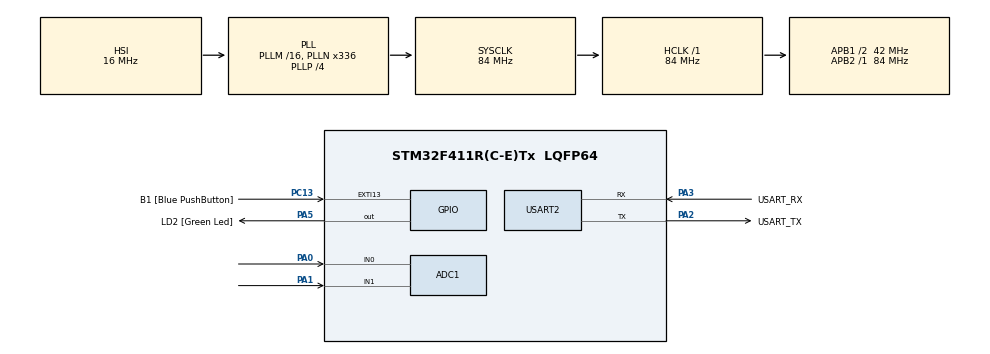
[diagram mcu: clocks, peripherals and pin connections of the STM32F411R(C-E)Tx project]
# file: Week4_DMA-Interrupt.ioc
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Mcu.Family=STM32F4
RCC.CortexFreq_Value=84000000
ADC1.ContinuousConvMode=ENABLE
VP_ADC1_TempSens_Input.Mode=IN-TempSens
PA14.GPIO_Label=TCK
RCC.SYSCLKSource=RCC_SYSCLKSOURCE_PLLCLK
ProjectManager.StackSize=0x400
PH0\ -\ OSC_IN.Signal=RCC_OSC_IN
RCC.HCLKFreq_Value=84000000
RCC.APB2TimFreq_Value=84000000
Dma.ADC1.0.Direction=DMA_PERIPH_TO_MEMORY
NVIC.DMA2_Stream0_IRQn=true\:0\:0\:false\:false\:true\:false\:true
Dma.ADC1.0.MemDataAlignment=DMA_MDATAALIGN_WORD
RCC.AHBFreq_Value=84000000
NVIC.EXTI15_10_IRQn=true\:0\:0\:false\:false\:true\:true\:true
ADC1.Channel-0\#ChannelRegularConversion=ADC_CHANNEL_0
RCC.HSE_VALUE=8000000
PC13-ANTI_TAMP.Signal=GPXTI13
VP_ADC1_Vref_Input.Mode=IN-Vrefint
PC14-OSC32_IN.Mode=LSE-External-Oscillator
PA14.Mode=Serial_Wire
Dma.ADC1.0.PeriphInc=DMA_PINC_DISABLE
SH.ADCx_IN0.0=ADC1_IN0,IN0
ADC1.SamplingTime-0\#ChannelRegularConversion=ADC_SAMPLETIME_28CYCLES
RCC.FLatency-AdvancedSettings=FLASH_LATENCY_2
Mcu.Package=LQFP64
USART2.VirtualMode=VM_ASYNC
PA2.GPIO_Label=USART_TX
SH.ADCx_IN1.0=ADC1_IN1,IN1
RCC.APB1TimFreq_Value=84000000
Dma.ADC1.0.FIFOMode=DMA_FIFOMODE_DISABLE
Dma.Request0=ADC1
PA3.Signal=USART2_RX
PB3.GPIO_Label=SWO
PC15-OSC32_OUT.Mode=LSE-External-Oscillator
Dma.ADC1.0.Instance=DMA2_Stream0
ADC1.Rank-0\#ChannelRegularConversion=1
PC13-ANTI_TAMP.GPIO_PuPd=GPIO_PULLUP
PC13-ANTI_TAMP.GPIO_Label=B1 [Blue PushButton]
PH1\ -\ OSC_OUT.Mode=HSE-External-Clock-Source
RCC.APB1CLKDivider=RCC_HCLK_DIV2
PC14-OSC32_IN.Signal=RCC_OSC32_IN
PA0-WKUP.Signal=ADCx_IN0
PA13.Signal=SYS_JTMS-SWDIO
PA3.Mode=Asynchronous
Dma.ADC1.0.PeriphDataAlignment=DMA_PDATAALIGN_WORD
PH0\ -\ OSC_IN.Mode=HSE-External-Clock-Source
ProjectManager.TargetToolchain=STM32CubeIDE
Dma.ADC1.0.Mode=DMA_CIRCULAR
Dma.ADC1.0.Priority=DMA_PRIORITY_LOW
ADC1.Channel-1\#ChannelRegularConversion=ADC_CHANNEL_1
PC15-OSC32_OUT.Signal=RCC_OSC32_OUT
PA1.Signal=ADCx_IN1
PA5.Signal=GPIO_Output
PH1\ -\ OSC_OUT.Signal=RCC_OSC_OUT
board=NUCLEO-F411RE
RCC.VCOOutputFreq_Value=336000000
RCC.APB2Freq_Value=84000000
ADC1.DMAContinuousRequests=ENABLE
ADC1.NbrOfConversion=2
PA13.Mode=Serial_Wire
Mcu.Name=STM32F411R(C-E)Tx
PA13.GPIO_Label=TMS
PA2.Signal=USART2_TX
RCC.48MHZClocksFreq_Value=84000000
PB3.Signal=SYS_JTDO-SWO
ADC1.SamplingTime-1\#ChannelRegularConversion=ADC_SAMPLETIME_28CYCLES
RCC.SYSCLKFreq_VALUE=84000000
ADC1.master=1
PA5.GPIO_Label=LD2 [Green Led]
ADC1.Rank-1\#ChannelRegularConversion=2
PC13-ANTI_TAMP.GPIO_ModeDefaultEXTI=GPIO_MODE_IT_FALLING
PA14.Signal=SYS_JTCK-SWCLK
Dma.ADC1.0.MemInc=DMA_MINC_ENABLE
ProjectManager.HeapSize=0x200
RCC.HSI_VALUE=16000000
RCC.PLLP=RCC_PLLP_DIV4
NVIC.PriorityGroup=NVIC_PRIORITYGROUP_0
ADC1.NbrOfConversionFlag=1
RCC.PLLN=336
PA2.Mode=Asynchronous
RCC.APB1Freq_Value=42000000
PA3.GPIO_Label=USART_RX

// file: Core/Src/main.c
/* USER CODE BEGIN Header */
/**
 ******************************************************************************
 * @file           : main.c
 * @brief          : Main program body
 ******************************************************************************
 * @attention
 *
 * <h2><center>&copy; Copyright (c) 2021 STMicroelectronics.
 * All rights reserved.</center></h2>
 *
 * This software component is licensed by ST under BSD 3-Clause license,
 * the "License"; You may not use this file except in compliance with the
 * License. You may obtain a copy of the License at:
 *                        opensource.org/licenses/BSD-3-Clause
 *
 ******************************************************************************
 */
/* USER CODE END Header */
#include "main.h"

ADC_HandleTypeDef hadc1;
DMA_HandleTypeDef hdma_adc1;

UART_HandleTypeDef huart2;

/* USER CODE BEGIN PV */
uint32_t ADCData[2] = { 0 };
uint32_t ButtonTimeStamp = 0;
uint32_t TIME = 0;
uint32_t TimeRandom = 0;
uint8_t state = 0;

/* USER CODE END PV */

void SystemClock_Config(void);
static void MX_GPIO_Init(void);
static void MX_DMA_Init(void);
static void MX_USART2_UART_Init(void);
static void MX_ADC1_Init(void);

int main(void)
{

  /* MCU Configuration--------------------------------------------------------*/

  /* Reset of all peripherals, Initializes the Flash interface and the Systick. */
  HAL_Init();

  /* Configure the system clock */
  SystemClock_Config();

  /* Initialize all configured peripherals */
  MX_GPIO_Init();
  MX_DMA_Init();
  MX_USART2_UART_Init();
  MX_ADC1_Init();
  /* USER CODE BEGIN 2 */
	HAL_ADC_Start_DMA(&hadc1, ADCData, 2);
	HAL_GPIO_WritePin(LD2_GPIO_Port, LD2_Pin, GPIO_PIN_SET); //set LED = 1 before press B1
  /* USER CODE END 2 */

  /* Infinite loop */
	while (1) {

    /* USER CODE BEGIN 3 */
		if (state == 1) {
			TimeRandom = 1000 + ((22695477 * ADCData[0] + ADCData[1]) % 10000);
			ButtonTimeStamp = HAL_GetTick();
			while (HAL_GetTick() - ButtonTimeStamp <= TimeRandom) //ms
			{
				// TimeRandom delay LED
			}
			state = 2;
			HAL_GPIO_WritePin(LD2_GPIO_Port, LD2_Pin, GPIO_PIN_SET);
			ButtonTimeStamp = HAL_GetTick();
		}
	}

  /* USER CODE END 3 */
}

void SystemClock_Config(void)
{
  RCC_OscInitTypeDef RCC_OscInitStruct = {0};
  RCC_ClkInitTypeDef RCC_ClkInitStruct = {0};

  /** Configure the main internal regulator output voltage
  */
  __HAL_RCC_PWR_CLK_ENABLE();
  __HAL_PWR_VOLTAGESCALING_CONFIG(PWR_REGULATOR_VOLTAGE_SCALE1);
  /** Initializes the RCC Oscillators according to the specified parameters
  * in the RCC_OscInitTypeDef structure.
  */
  RCC_OscInitStruct.OscillatorType = RCC_OSCILLATORTYPE_HSI;
  RCC_OscInitStruct.HSIState = RCC_HSI_ON;
  RCC_OscInitStruct.HSICalibrationValue = RCC_HSICALIBRATION_DEFAULT;
  RCC_OscInitStruct.PLL.PLLState = RCC_PLL_ON;
  RCC_OscInitStruct.PLL.PLLSource = RCC_PLLSOURCE_HSI;
  RCC_OscInitStruct.PLL.PLLM = 16;
  RCC_OscInitStruct.PLL.PLLN = 336;
  RCC_OscInitStruct.PLL.PLLP = RCC_PLLP_DIV4;
  RCC_OscInitStruct.PLL.PLLQ = 4;
  if (HAL_RCC_OscConfig(&RCC_OscInitStruct) != HAL_OK)
  {
    Error_Handler();
  }
  /** Initializes the CPU, AHB and APB buses clocks
  */
  RCC_ClkInitStruct.ClockType = RCC_CLOCKTYPE_HCLK|RCC_CLOCKTYPE_SYSCLK
                              |RCC_CLOCKTYPE_PCLK1|RCC_CLOCKTYPE_PCLK2;
  RCC_ClkInitStruct.SYSCLKSource = RCC_SYSCLKSOURCE_PLLCLK;
  RCC_ClkInitStruct.AHBCLKDivider = RCC_SYSCLK_DIV1;
  RCC_ClkInitStruct.APB1CLKDivider = RCC_HCLK_DIV2;
  RCC_ClkInitStruct.APB2CLKDivider = RCC_HCLK_DIV1;

  if (HAL_RCC_ClockConfig(&RCC_ClkInitStruct, FLASH_LATENCY_2) != HAL_OK)
  {
    Error_Handler();
  }
}

static void MX_ADC1_Init(void)
{

  ADC_ChannelConfTypeDef sConfig = {0};

  /** Configure the global features of the ADC (Clock, Resolution, Data Alignment and number of conversion)
  */
  hadc1.Instance = ADC1;
  hadc1.Init.ClockPrescaler = ADC_CLOCK_SYNC_PCLK_DIV4;
  hadc1.Init.Resolution = ADC_RESOLUTION_12B;
  hadc1.Init.ScanConvMode = ENABLE;
  hadc1.Init.ContinuousConvMode = ENABLE;
  hadc1.Init.DiscontinuousConvMode = DISABLE;
  hadc1.Init.ExternalTrigConvEdge = ADC_EXTERNALTRIGCONVEDGE_NONE;
  hadc1.Init.ExternalTrigConv = ADC_SOFTWARE_START;
  hadc1.Init.DataAlign = ADC_DATAALIGN_RIGHT;
  hadc1.Init.NbrOfConversion = 2;
  hadc1.Init.DMAContinuousRequests = ENABLE;
  hadc1.Init.EOCSelection = ADC_EOC_SINGLE_CONV;
  if (HAL_ADC_Init(&hadc1) != HAL_OK)
  {
    Error_Handler();
  }
  /** Configure for the selected ADC regular channel its corresponding rank in the sequencer and its sample time.
  */
  sConfig.Channel = ADC_CHANNEL_0;
  sConfig.Rank = 1;
  sConfig.SamplingTime = ADC_SAMPLETIME_28CYCLES;
  if (HAL_ADC_ConfigChannel(&hadc1, &sConfig) != HAL_OK)
  {
    Error_Handler();
  }
  /** Configure for the selected ADC regular channel its corresponding rank in the sequencer and its sample time.
  */
  sConfig.Channel = ADC_CHANNEL_1;
  sConfig.Rank = 2;
  if (HAL_ADC_ConfigChannel(&hadc1, &sConfig) != HAL_OK)
  {
    Error_Handler();
  }

}

static void MX_USART2_UART_Init(void)
{

  huart2.Instance = USART2;
  huart2.Init.BaudRate = 115200;
  huart2.Init.WordLength = UART_WORDLENGTH_8B;
  huart2.Init.StopBits = UART_STOPBITS_1;
  huart2.Init.Parity = UART_PARITY_NONE;
  huart2.Init.Mode = UART_MODE_TX_RX;
  huart2.Init.HwFlowCtl = UART_HWCONTROL_NONE;
  huart2.Init.OverSampling = UART_OVERSAMPLING_16;
  if (HAL_UART_Init(&huart2) != HAL_OK)
  {
    Error_Handler();
  }

}

static void MX_DMA_Init(void)
{

  /* DMA controller clock enable */
  __HAL_RCC_DMA2_CLK_ENABLE();

  /* DMA interrupt init */
  /* DMA2_Stream0_IRQn interrupt configuration */
  HAL_NVIC_SetPriority(DMA2_Stream0_IRQn, 0, 0);
  HAL_NVIC_EnableIRQ(DMA2_Stream0_IRQn);

}

static void MX_GPIO_Init(void)
{
  GPIO_InitTypeDef GPIO_InitStruct = {0};

  /* GPIO Ports Clock Enable */
  __HAL_RCC_GPIOC_CLK_ENABLE();
  __HAL_RCC_GPIOH_CLK_ENABLE();
  __HAL_RCC_GPIOA_CLK_ENABLE();
  __HAL_RCC_GPIOB_CLK_ENABLE();

  /*Configure GPIO pin Output Level */
  HAL_GPIO_WritePin(LD2_GPIO_Port, LD2_Pin, GPIO_PIN_RESET);

  /*Configure GPIO pin : B1_Pin */
  GPIO_InitStruct.Pin = B1_Pin;
  GPIO_InitStruct.Mode = GPIO_MODE_IT_FALLING;
  GPIO_InitStruct.Pull = GPIO_PULLUP;
  HAL_GPIO_Init(B1_GPIO_Port, &GPIO_InitStruct);

  /*Configure GPIO pin : LD2_Pin */
  GPIO_InitStruct.Pin = LD2_Pin;
  GPIO_InitStruct.Mode = GPIO_MODE_OUTPUT_PP;
  GPIO_InitStruct.Pull = GPIO_NOPULL;
  GPIO_InitStruct.Speed = GPIO_SPEED_FREQ_LOW;
  HAL_GPIO_Init(LD2_GPIO_Port, &GPIO_InitStruct);

  /* EXTI interrupt init*/
  HAL_NVIC_SetPriority(EXTI15_10_IRQn, 0, 0);
  HAL_NVIC_EnableIRQ(EXTI15_10_IRQn);

}

/* USER CODE BEGIN 4 */
void HAL_GPIO_EXTI_Callback(uint16_t GPIO_Pin) {
	if (GPIO_Pin == GPIO_PIN_13) {
		switch (state) {//After Press the Button B1
			case 0:
				HAL_GPIO_WritePin(LD2_GPIO_Port, LD2_Pin, GPIO_PIN_RESET);
			state = 1;
				break;
			case 2:
				TIME = HAL_GetTick() - ButtonTimeStamp;
				state = 0;
				break;
			default:
				state = 0;
				break;
		}
	}
}
/* USER CODE END 4 */

void Error_Handler(void)
{
	__disable_irq();
	while (1) {
	}
}

/************************ (C) COPYRIGHT STMicroelectronics *****END OF FILE****/
